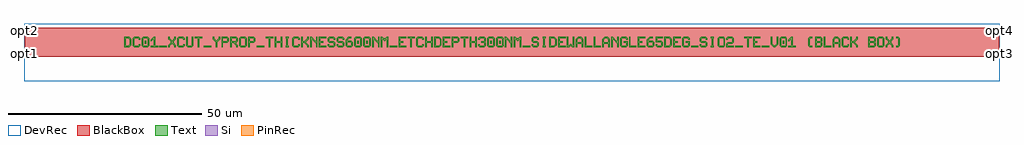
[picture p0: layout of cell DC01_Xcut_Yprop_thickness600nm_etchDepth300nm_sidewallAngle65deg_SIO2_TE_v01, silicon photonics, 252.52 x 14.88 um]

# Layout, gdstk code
import gdstk
lib = gdstk.Library(unit=1e-6, precision=1e-10)
def R(c, l, rs):  # rectangles x0, y0, x1, y1
    for r in rs: c.add(gdstk.rectangle(r[:2], r[2:], *l))
def A(c, l, x, y, w, h, nx, ny, dx, dy):  # array of equal rectangles
    R(c, l, [(x+i*dx, y+j*dy, x+i*dx+w, y+j*dy+h) for i in range(nx) for j in range(ny)])
def P(c, l, *ps):  # polygons
    for p in ps: c.add(gdstk.Polygon(p, *l))
Si = (1, 0)
PinRec = (1, 10)
Text = (10, 0)
DevRec = (68, 0)
BlackBox = (998, 0)

text = lib.new_cell('TEXT')
A(text, Text, 34.38, 0, 1.91, 0.382, 3, 1, 34.38, 0)
R(text, Text, [(9.168,0,11.078,0.382), (20.628,0,22.538,0.382), (146.688,0,148.598,0.382), (158.148,0,160.058,0.382), (165.024,0,166.934,0.382), (5.348,0.955,5.73,1.719), (60.356,0.955,60.738,1.719), (62.648,0.955,63.03,1.719), (94.736,0.955,95.118,1.719), (97.028,0.955,97.41,1.719), (170.372,0.955,170.754,1.719)])
P(text, Text, [(0,0),(0,2.674),(1.337,2.674),(1.719,2.292),(0.382,2.292),(0.382,0.382),(1.146,0.382),(1.528,0.764),(1.528,1.91),(1.146,2.292),(1.719,2.292),(1.91,2.101),(1.91,0.573),(1.337,0)],
  [(2.674,0),(2.292,0.382),(2.292,2.292),(2.674,2.674),(3.82,2.674),(4.202,2.292),(4.202,1.91),(3.82,1.91),(3.82,2.101),(3.629,2.292),(2.865,2.292),(2.674,2.101),(2.674,0.573),(2.865,0.382),(3.629,0.382),(3.82,0.573),(3.82,0.764),(4.202,0.764),(4.202,0.382),(3.82,0)],
  [(4.966,0),(4.584,0.382),(4.584,2.292),(4.966,2.674),(6.112,2.674),(6.494,2.292),(5.157,2.292),(4.966,2.101),(4.966,0.573),(5.157,0.382),(5.921,0.382),(6.112,0.573),(6.112,2.101),(5.921,2.292),(6.494,2.292),(6.494,0.382),(6.112,0)],
  [(6.876,0),(6.876,0.382),(7.64,0.382),(7.64,1.91),(7.449,1.91),(7.067,1.528),(6.876,1.528),(6.876,1.91),(7.64,2.674),(8.022,2.674),(8.022,0.382),(8.786,0.382),(8.786,0)],
  [(11.46,0),(11.46,0.573),(12.033,1.146),(12.033,1.528),(11.46,2.101),(11.46,2.674),(11.842,2.674),(11.842,2.292),(12.415,1.719),(12.988,2.292),(12.988,2.674),(13.37,2.674),(13.37,2.101),(12.797,1.528),(12.797,1.146),(13.37,0.573),(13.37,0),(12.988,0),(12.988,0.382),(12.415,0.955),(11.842,0.382),(11.842,0)],
  [(14.134,0),(13.752,0.382),(13.752,2.292),(14.134,2.674),(15.28,2.674),(15.662,2.292),(15.662,1.91),(15.28,1.91),(15.28,2.101),(15.089,2.292),(14.325,2.292),(14.134,2.101),(14.134,0.573),(14.325,0.382),(15.089,0.382),(15.28,0.573),(15.28,0.764),(15.662,0.764),(15.662,0.382),(15.28,0)],
  [(16.426,0),(16.044,0.382),(16.044,2.674),(16.426,2.674),(16.426,0.573),(16.617,0.382),(17.381,0.382),(17.572,0.573),(17.572,2.674),(17.954,2.674),(17.954,0.382),(17.572,0)],
  [(19.1,0),(19.1,2.292),(18.336,2.292),(18.336,2.674),(20.246,2.674),(20.246,2.292),(19.482,2.292),(19.482,0)],
  [(23.684,0),(23.684,1.337),(22.92,2.101),(22.92,2.674),(23.302,2.674),(23.302,2.292),(23.875,1.719),(24.448,2.292),(24.448,2.674),(24.83,2.674),(24.83,2.101),(24.066,1.337),(24.066,0)],
  [(25.212,0),(25.212,2.674),(26.74,2.674),(27.122,2.292),(27.122,1.528),(26.74,1.146),(25.594,1.146),(25.594,1.528),(26.549,1.528),(26.74,1.719),(26.74,2.101),(26.549,2.292),(25.594,2.292),(25.594,0)],
  [(27.504,0),(27.504,2.674),(29.032,2.674),(29.414,2.292),(27.886,2.292),(27.886,1.528),(28.841,1.528),(29.032,1.719),(29.032,2.101),(28.841,2.292),(29.414,2.292),(29.414,1.528),(29.032,1.146),(29.032,0.955),(29.414,0.573),(29.414,0),(29.032,0),(29.032,0.382),(28.268,1.146),(27.886,1.146),(27.886,0)],
  [(30.178,0),(29.796,0.382),(29.796,2.292),(30.178,2.674),(31.324,2.674),(31.706,2.292),(31.706,1.337),(31.324,1.337),(31.324,2.101),(31.133,2.292),(30.369,2.292),(30.178,2.101),(30.178,0.573),(30.369,0.382),(31.133,0.382),(31.324,0.573),(31.324,1.337),(31.706,1.337),(31.706,0.382),(31.324,0)],
  [(32.088,0),(32.088,2.674),(33.616,2.674),(33.998,2.292),(33.998,1.528),(33.616,1.146),(32.47,1.146),(32.47,1.528),(33.425,1.528),(33.616,1.719),(33.616,2.101),(33.425,2.292),(32.47,2.292),(32.47,0)],
  [(37.436,0),(37.436,2.292),(36.672,2.292),(36.672,2.674),(38.582,2.674),(38.582,2.292),(37.818,2.292),(37.818,0)],
  [(38.964,0),(38.964,2.674),(39.346,2.674),(39.346,1.528),(40.492,1.528),(40.492,2.674),(40.874,2.674),(40.874,0),(40.492,0),(40.492,1.146),(39.346,1.146),(39.346,0)],
  [(41.829,0),(41.829,0.382),(42.02,0.382),(42.02,2.292),(41.829,2.292),(41.829,2.674),(42.593,2.674),(42.593,2.292),(42.402,2.292),(42.402,0.382),(42.593,0.382),(42.593,0)],
  [(43.93,0),(43.548,0.382),(43.548,2.292),(43.93,2.674),(45.076,2.674),(45.458,2.292),(45.458,1.91),(45.076,1.91),(45.076,2.101),(44.885,2.292),(44.121,2.292),(43.93,2.101),(43.93,0.573),(44.121,0.382),(44.885,0.382),(45.076,0.573),(45.076,0.764),(45.458,0.764),(45.458,0.382),(45.076,0)],
  [(45.84,0),(45.84,2.674),(46.222,2.674),(46.222,1.528),(46.604,1.528),(47.368,2.292),(47.368,2.674),(47.75,2.674),(47.75,2.101),(46.986,1.337),(47.75,0.573),(47.75,0),(47.368,0),(47.368,0.382),(46.604,1.146),(46.222,1.146),(46.222,0)],
  [(48.132,0),(48.132,2.674),(48.514,2.674),(49.469,1.719),(49.66,1.719),(49.66,2.674),(50.042,2.674),(50.042,0),(49.66,0),(49.66,0.955),(48.705,1.91),(48.514,1.91),(48.514,0)],
  [(50.424,0),(50.424,2.674),(52.334,2.674),(52.334,2.292),(50.806,2.292),(50.806,1.528),(51.57,1.528),(51.57,1.146),(50.806,1.146),(50.806,0.382),(52.334,0.382),(52.334,0)],
  [(53.098,0),(52.716,0.382),(52.716,0.764),(53.098,0.764),(53.098,0.573),(53.289,0.382),(54.053,0.382),(54.244,0.573),(54.244,0.955),(54.053,1.146),(53.098,1.146),(52.716,1.528),(52.716,2.292),(53.098,2.674),(54.244,2.674),(54.626,2.292),(54.626,1.91),(54.244,1.91),(54.244,2.101),(54.053,2.292),(53.289,2.292),(53.098,2.101),(53.098,1.719),(53.289,1.528),(54.244,1.528),(54.626,1.146),(54.626,0.382),(54.244,0)],
  [(55.39,0),(55.008,0.382),(55.008,0.764),(55.39,0.764),(55.39,0.573),(55.581,0.382),(56.345,0.382),(56.536,0.573),(56.536,0.955),(56.345,1.146),(55.39,1.146),(55.008,1.528),(55.008,2.292),(55.39,2.674),(56.536,2.674),(56.918,2.292),(56.918,1.91),(56.536,1.91),(56.536,2.101),(56.345,2.292),(55.581,2.292),(55.39,2.101),(55.39,1.719),(55.581,1.528),(56.536,1.528),(56.918,1.146),(56.918,0.382),(56.536,0)],
  [(57.682,0),(57.3,0.382),(57.3,1.91),(58.064,2.674),(58.828,2.674),(58.828,2.292),(58.255,2.292),(57.873,1.91),(57.873,1.719),(58.828,1.719),(59.21,1.337),(57.873,1.337),(57.682,1.146),(57.682,0.573),(57.873,0.382),(58.637,0.382),(58.828,0.573),(58.828,1.146),(58.637,1.337),(59.21,1.337),(59.21,0.382),(58.828,0)],
  [(59.974,0),(59.592,0.382),(59.592,2.292),(59.974,2.674),(61.12,2.674),(61.502,2.292),(60.165,2.292),(59.974,2.101),(59.974,0.573),(60.165,0.382),(60.929,0.382),(61.12,0.573),(61.12,2.101),(60.929,2.292),(61.502,2.292),(61.502,0.382),(61.12,0)],
  [(62.266,0),(61.884,0.382),(61.884,2.292),(62.266,2.674),(63.412,2.674),(63.794,2.292),(62.457,2.292),(62.266,2.101),(62.266,0.573),(62.457,0.382),(63.221,0.382),(63.412,0.573),(63.412,2.101),(63.221,2.292),(63.794,2.292),(63.794,0.382),(63.412,0)],
  [(64.176,0),(64.176,2.674),(64.558,2.674),(65.513,1.719),(65.704,1.719),(65.704,2.674),(66.086,2.674),(66.086,0),(65.704,0),(65.704,0.955),(64.749,1.91),(64.558,1.91),(64.558,0)],
  [(66.468,0),(66.468,2.674),(66.85,2.674),(67.232,2.292),(67.614,2.292),(67.996,2.674),(68.378,2.674),(68.378,0),(67.996,0),(67.996,1.91),(67.805,1.91),(67.423,1.528),(67.041,1.91),(66.85,1.91),(66.85,0)],
  [(71.052,0),(71.052,2.674),(72.962,2.674),(72.962,2.292),(71.434,2.292),(71.434,1.528),(72.198,1.528),(72.198,1.146),(71.434,1.146),(71.434,0.382),(72.962,0.382),(72.962,0)],
  [(74.108,0),(74.108,2.292),(73.344,2.292),(73.344,2.674),(75.254,2.674),(75.254,2.292),(74.49,2.292),(74.49,0)],
  [(76.018,0),(75.636,0.382),(75.636,2.292),(76.018,2.674),(77.164,2.674),(77.546,2.292),(77.546,1.91),(77.164,1.91),(77.164,2.101),(76.973,2.292),(76.209,2.292),(76.018,2.101),(76.018,0.573),(76.209,0.382),(76.973,0.382),(77.164,0.573),(77.164,0.764),(77.546,0.764),(77.546,0.382),(77.164,0)],
  [(77.928,0),(77.928,2.674),(78.31,2.674),(78.31,1.528),(79.456,1.528),(79.456,2.674),(79.838,2.674),(79.838,0),(79.456,0),(79.456,1.146),(78.31,1.146),(78.31,0)],
  [(80.22,0),(80.22,2.674),(81.557,2.674),(81.939,2.292),(80.602,2.292),(80.602,0.382),(81.366,0.382),(81.748,0.764),(81.748,1.91),(81.366,2.292),(81.939,2.292),(82.13,2.101),(82.13,0.573),(81.557,0)],
  [(82.512,0),(82.512,2.674),(84.422,2.674),(84.422,2.292),(82.894,2.292),(82.894,1.528),(83.658,1.528),(83.658,1.146),(82.894,1.146),(82.894,0.382),(84.422,0.382),(84.422,0)],
  [(84.804,0),(84.804,2.674),(86.332,2.674),(86.714,2.292),(86.714,1.528),(86.332,1.146),(85.186,1.146),(85.186,1.528),(86.141,1.528),(86.332,1.719),(86.332,2.101),(86.141,2.292),(85.186,2.292),(85.186,0)],
  [(87.86,0),(87.86,2.292),(87.096,2.292),(87.096,2.674),(89.006,2.674),(89.006,2.292),(88.242,2.292),(88.242,0)],
  [(89.388,0),(89.388,2.674),(89.77,2.674),(89.77,1.528),(90.916,1.528),(90.916,2.674),(91.298,2.674),(91.298,0),(90.916,0),(90.916,1.146),(89.77,1.146),(89.77,0)],
  [(92.062,0),(91.68,0.382),(91.68,0.764),(92.062,0.764),(92.062,0.573),(92.253,0.382),(93.017,0.382),(93.208,0.573),(93.208,0.955),(93.017,1.146),(92.444,1.146),(92.444,1.528),(93.017,1.528),(93.208,1.719),(93.208,2.101),(93.017,2.292),(92.253,2.292),(92.062,2.101),(92.062,1.91),(91.68,1.91),(91.68,2.292),(92.062,2.674),(93.208,2.674),(93.59,2.292),(93.59,1.528),(93.399,1.337),(93.59,1.146),(93.59,0.382),(93.208,0)],
  [(94.354,0),(93.972,0.382),(93.972,2.292),(94.354,2.674),(95.5,2.674),(95.882,2.292),(94.545,2.292),(94.354,2.101),(94.354,0.573),(94.545,0.382),(95.309,0.382),(95.5,0.573),(95.5,2.101),(95.309,2.292),(95.882,2.292),(95.882,0.382),(95.5,0)],
  [(96.646,0),(96.264,0.382),(96.264,2.292),(96.646,2.674),(97.792,2.674),(98.174,2.292),(96.837,2.292),(96.646,2.101),(96.646,0.573),(96.837,0.382),(97.601,0.382),(97.792,0.573),(97.792,2.101),(97.601,2.292),(98.174,2.292),(98.174,0.382),(97.792,0)],
  [(98.556,0),(98.556,2.674),(98.938,2.674),(99.893,1.719),(100.084,1.719),(100.084,2.674),(100.466,2.674),(100.466,0),(100.084,0),(100.084,0.955),(99.129,1.91),(98.938,1.91),(98.938,0)],
  [(100.848,0),(100.848,2.674),(101.23,2.674),(101.612,2.292),(101.994,2.292),(102.376,2.674),(102.758,2.674),(102.758,0),(102.376,0),(102.376,1.91),(102.185,1.91),(101.803,1.528),(101.421,1.91),(101.23,1.91),(101.23,0)],
  [(105.814,0),(105.432,0.382),(105.432,0.764),(105.814,0.764),(105.814,0.573),(106.005,0.382),(106.769,0.382),(106.96,0.573),(106.96,0.955),(106.769,1.146),(105.814,1.146),(105.432,1.528),(105.432,2.292),(105.814,2.674),(106.96,2.674),(107.342,2.292),(107.342,1.91),(106.96,1.91),(106.96,2.101),(106.769,2.292),(106.005,2.292),(105.814,2.101),(105.814,1.719),(106.005,1.528),(106.96,1.528),(107.342,1.146),(107.342,0.382),(106.96,0)],
  [(108.297,0),(108.297,0.382),(108.488,0.382),(108.488,2.292),(108.297,2.292),(108.297,2.674),(109.061,2.674),(109.061,2.292),(108.87,2.292),(108.87,0.382),(109.061,0.382),(109.061,0)],
  [(110.016,0),(110.016,2.674),(111.353,2.674),(111.735,2.292),(110.398,2.292),(110.398,0.382),(111.162,0.382),(111.544,0.764),(111.544,1.91),(111.162,2.292),(111.735,2.292),(111.926,2.101),(111.926,0.573),(111.353,0)],
  [(112.308,0),(112.308,2.674),(114.218,2.674),(114.218,2.292),(112.69,2.292),(112.69,1.528),(113.454,1.528),(113.454,1.146),(112.69,1.146),(112.69,0.382),(114.218,0.382),(114.218,0)],
  [(114.6,0),(114.6,2.674),(114.982,2.674),(114.982,0.573),(115.173,0.573),(115.555,0.955),(115.937,0.573),(116.128,0.573),(116.128,2.674),(116.51,2.674),(116.51,0),(115.937,0),(115.555,0.382),(115.173,0)],
  [(116.892,0),(116.892,2.101),(117.465,2.674),(118.229,2.674),(118.611,2.292),(117.656,2.292),(117.274,1.91),(117.274,1.337),(118.42,1.337),(118.42,1.91),(118.038,2.292),(118.611,2.292),(118.802,2.101),(118.802,0),(118.42,0),(118.42,0.955),(117.274,0.955),(117.274,0)],
  [(119.184,0),(119.184,2.674),(119.566,2.674),(119.566,0.382),(121.094,0.382),(121.094,0)],
  [(121.476,0),(121.476,2.674),(121.858,2.674),(121.858,0.382),(123.386,0.382),(123.386,0)],
  [(123.768,0),(123.768,2.101),(124.341,2.674),(125.105,2.674),(125.487,2.292),(124.532,2.292),(124.15,1.91),(124.15,1.337),(125.296,1.337),(125.296,1.91),(124.914,2.292),(125.487,2.292),(125.678,2.101),(125.678,0),(125.296,0),(125.296,0.955),(124.15,0.955),(124.15,0)],
  [(126.06,0),(126.06,2.674),(126.442,2.674),(127.397,1.719),(127.588,1.719),(127.588,2.674),(127.97,2.674),(127.97,0),(127.588,0),(127.588,0.955),(126.633,1.91),(126.442,1.91),(126.442,0)],
  [(128.734,0),(128.352,0.382),(128.352,2.292),(128.734,2.674),(129.88,2.674),(130.262,2.292),(130.262,1.91),(129.88,1.91),(129.88,2.101),(129.689,2.292),(128.925,2.292),(128.734,2.101),(128.734,0.573),(128.925,0.382),(129.689,0.382),(129.88,0.573),(129.88,1.146),(129.307,1.146),(129.307,1.528),(130.262,1.528),(130.262,0.382),(129.88,0)],
  [(130.644,0),(130.644,2.674),(131.026,2.674),(131.026,0.382),(132.554,0.382),(132.554,0)],
  [(132.936,0),(132.936,2.674),(134.846,2.674),(134.846,2.292),(133.318,2.292),(133.318,1.528),(134.082,1.528),(134.082,1.146),(133.318,1.146),(133.318,0.382),(134.846,0.382),(134.846,0)],
  [(135.61,0),(135.228,0.382),(135.228,1.91),(135.992,2.674),(136.756,2.674),(136.756,2.292),(136.183,2.292),(135.801,1.91),(135.801,1.719),(136.756,1.719),(137.138,1.337),(135.801,1.337),(135.61,1.146),(135.61,0.573),(135.801,0.382),(136.565,0.382),(136.756,0.573),(136.756,1.146),(136.565,1.337),(137.138,1.337),(137.138,0.382),(136.756,0)],
  [(137.902,0),(137.52,0.382),(137.52,0.764),(137.902,0.764),(137.902,0.573),(138.093,0.382),(138.857,0.382),(139.048,0.573),(139.048,1.146),(138.857,1.337),(137.52,1.337),(137.52,2.674),(139.43,2.674),(139.43,2.292),(137.902,2.292),(137.902,1.719),(139.048,1.719),(139.43,1.337),(139.43,0.382),(139.048,0)],
  [(139.812,0),(139.812,2.674),(141.149,2.674),(141.531,2.292),(140.194,2.292),(140.194,0.382),(140.958,0.382),(141.34,0.764),(141.34,1.91),(140.958,2.292),(141.531,2.292),(141.722,2.101),(141.722,0.573),(141.149,0)],
  [(142.104,0),(142.104,2.674),(144.014,2.674),(144.014,2.292),(142.486,2.292),(142.486,1.528),(143.25,1.528),(143.25,1.146),(142.486,1.146),(142.486,0.382),(144.014,0.382),(144.014,0)],
  [(144.778,0),(144.396,0.382),(144.396,2.292),(144.778,2.674),(145.924,2.674),(146.306,2.292),(146.306,1.91),(145.924,1.91),(145.924,2.101),(145.733,2.292),(144.969,2.292),(144.778,2.101),(144.778,0.573),(144.969,0.382),(145.733,0.382),(145.924,0.573),(145.924,1.146),(145.351,1.146),(145.351,1.528),(146.306,1.528),(146.306,0.382),(145.924,0)],
  [(149.362,0),(148.98,0.382),(148.98,0.764),(149.362,0.764),(149.362,0.573),(149.553,0.382),(150.317,0.382),(150.508,0.573),(150.508,0.955),(150.317,1.146),(149.362,1.146),(148.98,1.528),(148.98,2.292),(149.362,2.674),(150.508,2.674),(150.89,2.292),(150.89,1.91),(150.508,1.91),(150.508,2.101),(150.317,2.292),(149.553,2.292),(149.362,2.101),(149.362,1.719),(149.553,1.528),(150.508,1.528),(150.89,1.146),(150.89,0.382),(150.508,0)],
  [(151.845,0),(151.845,0.382),(152.036,0.382),(152.036,2.292),(151.845,2.292),(151.845,2.674),(152.609,2.674),(152.609,2.292),(152.418,2.292),(152.418,0.382),(152.609,0.382),(152.609,0)],
  [(153.946,0),(153.564,0.382),(153.564,2.292),(153.946,2.674),(155.092,2.674),(155.474,2.292),(155.474,1.337),(155.092,1.337),(155.092,2.101),(154.901,2.292),(154.137,2.292),(153.946,2.101),(153.946,0.573),(154.137,0.382),(154.901,0.382),(155.092,0.573),(155.092,1.337),(155.474,1.337),(155.474,0.382),(155.092,0)],
  [(155.856,0),(155.856,0.955),(156.238,1.337),(157.193,1.337),(157.384,1.528),(157.384,2.101),(157.193,2.292),(156.429,2.292),(156.238,2.101),(156.238,1.91),(155.856,1.91),(155.856,2.292),(156.238,2.674),(157.384,2.674),(157.766,2.292),(157.766,1.337),(157.384,0.955),(156.429,0.955),(156.238,0.764),(156.238,0.382),(157.766,0.382),(157.766,0)],
  [(161.204,0),(161.204,2.292),(160.44,2.292),(160.44,2.674),(162.35,2.674),(162.35,2.292),(161.586,2.292),(161.586,0)],
  [(162.732,0),(162.732,2.674),(164.642,2.674),(164.642,2.292),(163.114,2.292),(163.114,1.528),(163.878,1.528),(163.878,1.146),(163.114,1.146),(163.114,0.382),(164.642,0.382),(164.642,0)],
  [(168.08,0),(167.316,0.764),(167.316,2.674),(167.698,2.674),(167.698,0.955),(168.271,0.382),(168.844,0.955),(168.844,2.674),(169.226,2.674),(169.226,0.764),(168.462,0)],
  [(169.99,0),(169.608,0.382),(169.608,2.292),(169.99,2.674),(171.136,2.674),(171.518,2.292),(170.181,2.292),(169.99,2.101),(169.99,0.573),(170.181,0.382),(170.945,0.382),(171.136,0.573),(171.136,2.101),(170.945,2.292),(171.518,2.292),(171.518,0.382),(171.136,0)],
  [(171.9,0),(171.9,0.382),(172.664,0.382),(172.664,1.91),(172.473,1.91),(172.091,1.528),(171.9,1.528),(171.9,1.91),(172.664,2.674),(173.046,2.674),(173.046,0.382),(173.81,0.382),(173.81,0)],
  [(177.439,0),(177.057,0.382),(177.057,2.292),(177.439,2.674),(178.012,2.674),(178.012,2.292),(177.63,2.292),(177.439,2.101),(177.439,0.573),(177.63,0.382),(178.012,0.382),(178.012,0)],
  [(178.776,0),(178.776,2.674),(180.304,2.674),(180.686,2.292),(179.158,2.292),(179.158,1.528),(180.113,1.528),(180.304,1.719),(180.304,2.101),(180.113,2.292),(180.686,2.292),(180.686,1.528),(180.495,1.337),(180.686,1.146),(179.158,1.146),(179.158,0.382),(180.113,0.382),(180.304,0.573),(180.304,0.955),(180.113,1.146),(180.686,1.146),(180.686,0.382),(180.304,0)],
  [(181.068,0),(181.068,2.674),(181.45,2.674),(181.45,0.382),(182.978,0.382),(182.978,0)],
  [(183.36,0),(183.36,2.101),(183.933,2.674),(184.697,2.674),(185.079,2.292),(184.124,2.292),(183.742,1.91),(183.742,1.337),(184.888,1.337),(184.888,1.91),(184.506,2.292),(185.079,2.292),(185.27,2.101),(185.27,0),(184.888,0),(184.888,0.955),(183.742,0.955),(183.742,0)],
  [(186.034,0),(185.652,0.382),(185.652,2.292),(186.034,2.674),(187.18,2.674),(187.562,2.292),(187.562,1.91),(187.18,1.91),(187.18,2.101),(186.989,2.292),(186.225,2.292),(186.034,2.101),(186.034,0.573),(186.225,0.382),(186.989,0.382),(187.18,0.573),(187.18,0.764),(187.562,0.764),(187.562,0.382),(187.18,0)],
  [(187.944,0),(187.944,2.674),(188.326,2.674),(188.326,1.528),(188.708,1.528),(189.472,2.292),(189.472,2.674),(189.854,2.674),(189.854,2.101),(189.09,1.337),(189.854,0.573),(189.854,0),(189.472,0),(189.472,0.382),(188.708,1.146),(188.326,1.146),(188.326,0)],
  [(192.528,0),(192.528,2.674),(194.056,2.674),(194.438,2.292),(192.91,2.292),(192.91,1.528),(193.865,1.528),(194.056,1.719),(194.056,2.101),(193.865,2.292),(194.438,2.292),(194.438,1.528),(194.247,1.337),(194.438,1.146),(192.91,1.146),(192.91,0.382),(193.865,0.382),(194.056,0.573),(194.056,0.955),(193.865,1.146),(194.438,1.146),(194.438,0.382),(194.056,0)],
  [(195.202,0),(194.82,0.382),(194.82,2.292),(195.202,2.674),(196.348,2.674),(196.73,2.292),(196.73,1.337),(196.348,1.337),(196.348,2.101),(196.157,2.292),(195.393,2.292),(195.202,2.101),(195.202,0.573),(195.393,0.382),(196.157,0.382),(196.348,0.573),(196.348,1.337),(196.73,1.337),(196.73,0.382),(196.348,0)],
  [(197.112,0),(197.112,0.573),(197.685,1.146),(197.685,1.528),(197.112,2.101),(197.112,2.674),(197.494,2.674),(197.494,2.292),(198.067,1.719),(198.64,2.292),(198.64,2.674),(199.022,2.674),(199.022,2.101),(198.449,1.528),(198.449,1.146),(199.022,0.573),(199.022,0),(198.64,0),(198.64,0.382),(198.067,0.955),(197.494,0.382),(197.494,0)],
  [(199.786,0),(199.786,0.382),(200.168,0.382),(200.359,0.573),(200.359,2.101),(200.168,2.292),(199.786,2.292),(199.786,2.674),(200.359,2.674),(200.741,2.292),(200.741,0.382),(200.359,0)])

dc01_xcut_yprop_thicknes = lib.new_cell('DC01_Xcut_Yprop_thickness600nm_etchDepth300nm_sidewallAngle65deg_SIO2_TE_v01')
R(dc01_xcut_yprop_thicknes, Si, [(-126.25,-3.74,-126.05,-2.34), (126.05,-3.74,126.25,-2.34), (126.05,2.32,126.25,3.72), (-126.25,2.34,-126.05,3.74)])
R(dc01_xcut_yprop_thicknes, DevRec, [(-126.25,-10.14,126.25,4.74)])
R(dc01_xcut_yprop_thicknes, BlackBox, [(-126.05,-3.74,126.05,3.74)])
dc01_xcut_yprop_thicknes.add(gdstk.FlexPath([(-126.24,-3.04),(-126.26,-3.04)], 1.4, ends="flush", simple_path=True, layer=1, datatype=10))  # PinRec
dc01_xcut_yprop_thicknes.add(gdstk.FlexPath([(-126.24,3.04),(-126.26,3.04)], 1.4, ends="flush", simple_path=True, layer=1, datatype=10))  # PinRec
dc01_xcut_yprop_thicknes.add(gdstk.FlexPath([(126.24,-3.04),(126.26,-3.04)], 1.4, ends="flush", simple_path=True, layer=1, datatype=10))  # PinRec
dc01_xcut_yprop_thicknes.add(gdstk.FlexPath([(126.24,3.02),(126.26,3.02)], 1.4, ends="flush", simple_path=True, layer=1, datatype=10))  # PinRec
dc01_xcut_yprop_thicknes.add(gdstk.Reference(text, (-100.3705,-1.337)))
dc01_xcut_yprop_thicknes.add(gdstk.Label('opt1', (-126.25,-3.04), layer=1, texttype=10))
dc01_xcut_yprop_thicknes.add(gdstk.Label('opt2', (-126.25,3.04), layer=1, texttype=10))
dc01_xcut_yprop_thicknes.add(gdstk.Label('opt3', (126.25,-3.04), layer=1, texttype=10))
dc01_xcut_yprop_thicknes.add(gdstk.Label('opt4', (126.25,3.02), layer=1, texttype=10))
dc01_xcut_yprop_thicknes.add(gdstk.Label('By Songliang Chen, 2026/10/13', (-125.75,-4.24), layer=10, texttype=0))

lib.write_gds('DC01_Xcut_Yprop_thickness600nm_etchDepth300nm_sidewallAngle65deg_SIO2_TE_v01.gds')
